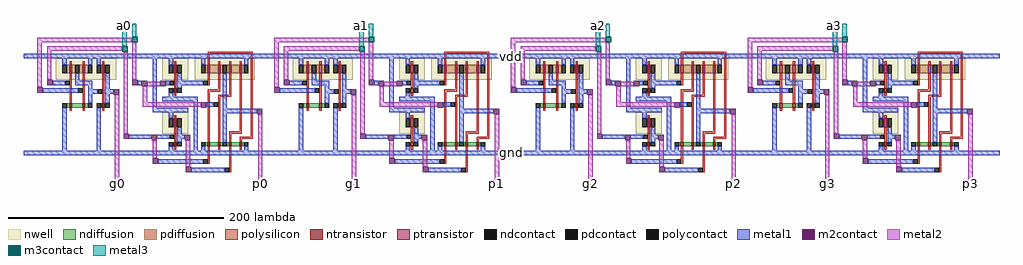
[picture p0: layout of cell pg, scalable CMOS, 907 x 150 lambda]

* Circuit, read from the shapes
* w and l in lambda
.subckt pg a0 a1 a2 a3 b0 b1 b2 b3 g0 g1 g2 g3 gnd p0 p1 p2 p3 vdd
M1 n1 a0 gnd VSUBS nfet w=4 l=2
M2 n2 b0 n1 VSUBS nfet w=4 l=2
M3 g0 n2 gnd VSUBS nfet w=4 l=2
M4 n3 a0 gnd VSUBS nfet w=4 l=2
M5 n4 b0 gnd VSUBS nfet w=4 l=2
M6 n5 a0 gnd VSUBS nfet w=4 l=2
M7 p0 b0 n5 VSUBS nfet w=4 l=2
M8 n6 n3 p0 VSUBS nfet w=4 l=2
M9 gnd n4 n6 VSUBS nfet w=4 l=2
M10 n7 a1 gnd VSUBS nfet w=4 l=2
M11 n8 b1 n7 VSUBS nfet w=4 l=2
M12 g1 n8 gnd VSUBS nfet w=4 l=2
M13 n9 a1 gnd VSUBS nfet w=4 l=2
M14 n10 b1 gnd VSUBS nfet w=4 l=2
M15 n11 a1 gnd VSUBS nfet w=4 l=2
M16 p1 b1 n11 VSUBS nfet w=4 l=2
M17 n12 n9 p1 VSUBS nfet w=4 l=2
M18 gnd n10 n12 VSUBS nfet w=4 l=2
M19 n13 a2 gnd VSUBS nfet w=4 l=2
M20 n14 b2 n13 VSUBS nfet w=4 l=2
M21 g2 n14 gnd VSUBS nfet w=4 l=2
M22 n15 a2 gnd VSUBS nfet w=4 l=2
M23 n16 b2 gnd VSUBS nfet w=4 l=2
M24 n17 a2 gnd VSUBS nfet w=4 l=2
M25 p2 b2 n17 VSUBS nfet w=4 l=2
M26 n18 n15 p2 VSUBS nfet w=4 l=2
M27 gnd n16 n18 VSUBS nfet w=4 l=2
M28 n19 a3 gnd VSUBS nfet w=4 l=2
M29 n20 b3 n19 VSUBS nfet w=4 l=2
M30 g3 n20 gnd VSUBS nfet w=4 l=2
M31 n21 a3 gnd VSUBS nfet w=4 l=2
M32 n22 b3 gnd VSUBS nfet w=4 l=2
M33 n23 a3 gnd VSUBS nfet w=4 l=2
M34 p3 b3 n23 VSUBS nfet w=4 l=2
M35 n24 n21 p3 VSUBS nfet w=4 l=2
M36 gnd n22 n24 VSUBS nfet w=4 l=2
M37 n2 a0 vdd n25 pfet w=8 l=2
M38 vdd b0 n2 n25 pfet w=8 l=2
M39 g0 n2 vdd n25 pfet w=8 l=2
M40 n3 a0 vdd n26 pfet w=8 l=2
M41 n4 b0 vdd n27 pfet w=8 l=2
M42 n28 n4 vdd n29 pfet w=8 l=2
M43 p0 a0 n28 n29 pfet w=8 l=2
M44 n30 b0 p0 n29 pfet w=8 l=2
M45 vdd n3 n30 n29 pfet w=8 l=2
M46 n8 a1 vdd n31 pfet w=8 l=2
M47 vdd b1 n8 n31 pfet w=8 l=2
M48 g1 n8 vdd n31 pfet w=8 l=2
M49 n9 a1 vdd n32 pfet w=8 l=2
M50 n10 b1 vdd n33 pfet w=8 l=2
M51 n34 n10 vdd n35 pfet w=8 l=2
M52 p1 a1 n34 n35 pfet w=8 l=2
M53 n36 b1 p1 n35 pfet w=8 l=2
M54 vdd n9 n36 n35 pfet w=8 l=2
M55 n14 a2 vdd n37 pfet w=8 l=2
M56 vdd b2 n14 n37 pfet w=8 l=2
M57 g2 n14 vdd n37 pfet w=8 l=2
M58 n15 a2 vdd n38 pfet w=8 l=2
M59 n16 b2 vdd n39 pfet w=8 l=2
M60 n40 n16 vdd n41 pfet w=8 l=2
M61 p2 a2 n40 n41 pfet w=8 l=2
M62 n42 b2 p2 n41 pfet w=8 l=2
M63 vdd n15 n42 n41 pfet w=8 l=2
M64 n20 a3 vdd n43 pfet w=8 l=2
M65 vdd b3 n20 n43 pfet w=8 l=2
M66 g3 n20 vdd n43 pfet w=8 l=2
M67 n21 a3 vdd n44 pfet w=8 l=2
M68 n22 b3 vdd n45 pfet w=8 l=2
M69 n46 n22 vdd n47 pfet w=8 l=2
M70 p3 a3 n46 n47 pfet w=8 l=2
M71 n48 b3 p3 n47 pfet w=8 l=2
M72 vdd n21 n48 n47 pfet w=8 l=2
.ends

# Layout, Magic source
magic
tech scmos
<< nwell >>
rect 154 86 210 106
rect 253 86 277 106
rect 283 86 339 106
rect 374 86 430 106
rect 473 86 497 106
rect 503 86 559 106
rect 594 86 650 106
rect 693 86 717 106
rect 723 86 779 106
rect 814 86 870 106
rect 913 86 937 106
rect 943 86 999 106
rect 253 36 277 56
rect 473 36 497 56
rect 693 36 717 56
rect 913 36 937 56
<< ntransistor >>
rect 264 74 266 78
rect 167 60 169 64
rect 179 60 181 64
rect 197 60 199 64
rect 484 74 486 78
rect 387 60 389 64
rect 399 60 401 64
rect 417 60 419 64
rect 704 74 706 78
rect 607 60 609 64
rect 619 60 621 64
rect 637 60 639 64
rect 924 74 926 78
rect 827 60 829 64
rect 839 60 841 64
rect 857 60 859 64
rect 264 24 266 28
rect 295 24 297 28
rect 305 24 307 28
rect 315 24 317 28
rect 325 24 327 28
rect 484 24 486 28
rect 515 24 517 28
rect 525 24 527 28
rect 535 24 537 28
rect 545 24 547 28
rect 704 24 706 28
rect 735 24 737 28
rect 745 24 747 28
rect 755 24 757 28
rect 765 24 767 28
rect 924 24 926 28
rect 955 24 957 28
rect 965 24 967 28
rect 975 24 977 28
rect 985 24 987 28
<< ptransistor >>
rect 167 92 169 100
rect 179 92 181 100
rect 197 92 199 100
rect 264 92 266 100
rect 295 92 297 100
rect 305 92 307 100
rect 315 92 317 100
rect 325 92 327 100
rect 264 42 266 50
rect 387 92 389 100
rect 399 92 401 100
rect 417 92 419 100
rect 484 92 486 100
rect 515 92 517 100
rect 525 92 527 100
rect 535 92 537 100
rect 545 92 547 100
rect 484 42 486 50
rect 607 92 609 100
rect 619 92 621 100
rect 637 92 639 100
rect 704 92 706 100
rect 735 92 737 100
rect 745 92 747 100
rect 755 92 757 100
rect 765 92 767 100
rect 704 42 706 50
rect 827 92 829 100
rect 839 92 841 100
rect 857 92 859 100
rect 924 92 926 100
rect 955 92 957 100
rect 965 92 967 100
rect 975 92 977 100
rect 985 92 987 100
rect 924 42 926 50
<< ndiffusion >>
rect 263 74 264 78
rect 266 74 267 78
rect 164 60 167 64
rect 169 60 179 64
rect 181 60 184 64
rect 196 60 197 64
rect 199 60 200 64
rect 483 74 484 78
rect 486 74 487 78
rect 384 60 387 64
rect 389 60 399 64
rect 401 60 404 64
rect 416 60 417 64
rect 419 60 420 64
rect 703 74 704 78
rect 706 74 707 78
rect 604 60 607 64
rect 609 60 619 64
rect 621 60 624 64
rect 636 60 637 64
rect 639 60 640 64
rect 923 74 924 78
rect 926 74 927 78
rect 824 60 827 64
rect 829 60 839 64
rect 841 60 844 64
rect 856 60 857 64
rect 859 60 860 64
rect 263 24 264 28
rect 266 24 267 28
rect 293 24 295 28
rect 297 24 305 28
rect 307 24 309 28
rect 313 24 315 28
rect 317 24 325 28
rect 327 24 329 28
rect 483 24 484 28
rect 486 24 487 28
rect 513 24 515 28
rect 517 24 525 28
rect 527 24 529 28
rect 533 24 535 28
rect 537 24 545 28
rect 547 24 549 28
rect 703 24 704 28
rect 706 24 707 28
rect 733 24 735 28
rect 737 24 745 28
rect 747 24 749 28
rect 753 24 755 28
rect 757 24 765 28
rect 767 24 769 28
rect 923 24 924 28
rect 926 24 927 28
rect 953 24 955 28
rect 957 24 965 28
rect 967 24 969 28
rect 973 24 975 28
rect 977 24 985 28
rect 987 24 989 28
<< pdiffusion >>
rect 164 92 167 100
rect 169 92 172 100
rect 176 92 179 100
rect 181 92 184 100
rect 196 92 197 100
rect 199 92 200 100
rect 263 92 264 100
rect 266 92 267 100
rect 293 92 295 100
rect 297 92 305 100
rect 307 92 309 100
rect 313 92 315 100
rect 317 92 325 100
rect 327 92 329 100
rect 263 42 264 50
rect 266 42 267 50
rect 384 92 387 100
rect 389 92 392 100
rect 396 92 399 100
rect 401 92 404 100
rect 416 92 417 100
rect 419 92 420 100
rect 483 92 484 100
rect 486 92 487 100
rect 513 92 515 100
rect 517 92 525 100
rect 527 92 529 100
rect 533 92 535 100
rect 537 92 545 100
rect 547 92 549 100
rect 483 42 484 50
rect 486 42 487 50
rect 604 92 607 100
rect 609 92 612 100
rect 616 92 619 100
rect 621 92 624 100
rect 636 92 637 100
rect 639 92 640 100
rect 703 92 704 100
rect 706 92 707 100
rect 733 92 735 100
rect 737 92 745 100
rect 747 92 749 100
rect 753 92 755 100
rect 757 92 765 100
rect 767 92 769 100
rect 703 42 704 50
rect 706 42 707 50
rect 824 92 827 100
rect 829 92 832 100
rect 836 92 839 100
rect 841 92 844 100
rect 856 92 857 100
rect 859 92 860 100
rect 923 92 924 100
rect 926 92 927 100
rect 953 92 955 100
rect 957 92 965 100
rect 967 92 969 100
rect 973 92 975 100
rect 977 92 985 100
rect 987 92 989 100
rect 923 42 924 50
rect 926 42 927 50
<< ndcontact >>
rect 259 74 263 78
rect 267 74 271 78
rect 160 60 164 64
rect 184 60 188 64
rect 192 60 196 64
rect 200 60 204 64
rect 479 74 483 78
rect 487 74 491 78
rect 380 60 384 64
rect 404 60 408 64
rect 412 60 416 64
rect 420 60 424 64
rect 699 74 703 78
rect 707 74 711 78
rect 600 60 604 64
rect 624 60 628 64
rect 632 60 636 64
rect 640 60 644 64
rect 919 74 923 78
rect 927 74 931 78
rect 820 60 824 64
rect 844 60 848 64
rect 852 60 856 64
rect 860 60 864 64
rect 259 24 263 28
rect 267 24 271 28
rect 289 24 293 28
rect 309 24 313 28
rect 329 24 333 28
rect 479 24 483 28
rect 487 24 491 28
rect 509 24 513 28
rect 529 24 533 28
rect 549 24 553 28
rect 699 24 703 28
rect 707 24 711 28
rect 729 24 733 28
rect 749 24 753 28
rect 769 24 773 28
rect 919 24 923 28
rect 927 24 931 28
rect 949 24 953 28
rect 969 24 973 28
rect 989 24 993 28
<< pdcontact >>
rect 160 92 164 100
rect 172 92 176 100
rect 184 92 188 100
rect 192 92 196 100
rect 200 92 204 100
rect 259 92 263 100
rect 267 92 271 100
rect 289 92 293 100
rect 309 92 313 100
rect 329 92 333 100
rect 259 42 263 50
rect 267 42 271 50
rect 380 92 384 100
rect 392 92 396 100
rect 404 92 408 100
rect 412 92 416 100
rect 420 92 424 100
rect 479 92 483 100
rect 487 92 491 100
rect 509 92 513 100
rect 529 92 533 100
rect 549 92 553 100
rect 479 42 483 50
rect 487 42 491 50
rect 600 92 604 100
rect 612 92 616 100
rect 624 92 628 100
rect 632 92 636 100
rect 640 92 644 100
rect 699 92 703 100
rect 707 92 711 100
rect 729 92 733 100
rect 749 92 753 100
rect 769 92 773 100
rect 699 42 703 50
rect 707 42 711 50
rect 820 92 824 100
rect 832 92 836 100
rect 844 92 848 100
rect 852 92 856 100
rect 860 92 864 100
rect 919 92 923 100
rect 927 92 931 100
rect 949 92 953 100
rect 969 92 973 100
rect 989 92 993 100
rect 919 42 923 50
rect 927 42 931 50
<< polysilicon >>
rect 295 110 337 112
rect 167 100 169 103
rect 179 100 181 103
rect 197 100 199 103
rect 264 100 266 103
rect 295 100 297 110
rect 305 100 307 103
rect 315 100 317 103
rect 325 100 327 103
rect 167 64 169 92
rect 179 64 181 92
rect 197 64 199 92
rect 264 78 266 92
rect 295 81 297 92
rect 305 77 307 92
rect 295 75 307 77
rect 264 71 266 74
rect 167 57 169 60
rect 179 57 181 60
rect 197 57 199 60
rect 264 50 266 53
rect 264 28 266 42
rect 295 28 297 75
rect 315 72 317 92
rect 305 70 317 72
rect 305 28 307 70
rect 325 38 327 92
rect 315 36 327 38
rect 315 28 317 36
rect 335 33 337 110
rect 515 110 557 112
rect 387 100 389 103
rect 399 100 401 103
rect 417 100 419 103
rect 484 100 486 103
rect 515 100 517 110
rect 525 100 527 103
rect 535 100 537 103
rect 545 100 547 103
rect 387 64 389 92
rect 399 64 401 92
rect 417 64 419 92
rect 484 78 486 92
rect 515 81 517 92
rect 525 77 527 92
rect 515 75 527 77
rect 484 71 486 74
rect 387 57 389 60
rect 399 57 401 60
rect 417 57 419 60
rect 484 50 486 53
rect 325 31 337 33
rect 325 28 327 31
rect 484 28 486 42
rect 515 28 517 75
rect 535 72 537 92
rect 525 70 537 72
rect 525 28 527 70
rect 545 38 547 92
rect 535 36 547 38
rect 535 28 537 36
rect 555 33 557 110
rect 735 110 777 112
rect 607 100 609 103
rect 619 100 621 103
rect 637 100 639 103
rect 704 100 706 103
rect 735 100 737 110
rect 745 100 747 103
rect 755 100 757 103
rect 765 100 767 103
rect 607 64 609 92
rect 619 64 621 92
rect 637 64 639 92
rect 704 78 706 92
rect 735 81 737 92
rect 745 77 747 92
rect 735 75 747 77
rect 704 71 706 74
rect 607 57 609 60
rect 619 57 621 60
rect 637 57 639 60
rect 704 50 706 53
rect 545 31 557 33
rect 545 28 547 31
rect 704 28 706 42
rect 735 28 737 75
rect 755 72 757 92
rect 745 70 757 72
rect 745 28 747 70
rect 765 38 767 92
rect 755 36 767 38
rect 755 28 757 36
rect 775 33 777 110
rect 955 110 997 112
rect 827 100 829 103
rect 839 100 841 103
rect 857 100 859 103
rect 924 100 926 103
rect 955 100 957 110
rect 965 100 967 103
rect 975 100 977 103
rect 985 100 987 103
rect 827 64 829 92
rect 839 64 841 92
rect 857 64 859 92
rect 924 78 926 92
rect 955 81 957 92
rect 965 77 967 92
rect 955 75 967 77
rect 924 71 926 74
rect 827 57 829 60
rect 839 57 841 60
rect 857 57 859 60
rect 924 50 926 53
rect 765 31 777 33
rect 765 28 767 31
rect 924 28 926 42
rect 955 28 957 75
rect 975 72 977 92
rect 965 70 977 72
rect 965 28 967 70
rect 985 38 987 92
rect 975 36 987 38
rect 975 28 977 36
rect 995 33 997 110
rect 985 31 997 33
rect 985 28 987 31
rect 264 21 266 24
rect 295 8 297 24
rect 305 21 307 24
rect 315 0 317 24
rect 325 21 327 24
rect 484 21 486 24
rect 515 8 517 24
rect 525 21 527 24
rect 535 0 537 24
rect 545 21 547 24
rect 704 21 706 24
rect 735 8 737 24
rect 745 21 747 24
rect 755 0 757 24
rect 765 21 767 24
rect 924 21 926 24
rect 955 8 957 24
rect 965 21 967 24
rect 975 0 977 24
rect 985 21 987 24
<< polycontact >>
rect 163 81 167 85
rect 175 74 179 78
rect 193 73 197 77
rect 260 81 264 85
rect 291 81 295 85
rect 260 31 264 35
rect 301 61 305 65
rect 383 81 387 85
rect 395 74 399 78
rect 413 73 417 77
rect 480 81 484 85
rect 511 81 515 85
rect 480 31 484 35
rect 521 61 525 65
rect 603 81 607 85
rect 615 74 619 78
rect 633 73 637 77
rect 700 81 704 85
rect 731 81 735 85
rect 700 31 704 35
rect 741 61 745 65
rect 823 81 827 85
rect 835 74 839 78
rect 853 73 857 77
rect 920 81 924 85
rect 951 81 955 85
rect 920 31 924 35
rect 961 61 965 65
rect 291 8 295 12
rect 311 0 315 4
rect 511 8 515 12
rect 531 0 535 4
rect 731 8 735 12
rect 751 0 755 4
rect 951 8 955 12
rect 971 0 975 4
<< metal1 >>
rect 124 106 1031 110
rect 160 100 164 106
rect 184 100 188 106
rect 192 100 196 106
rect 172 85 176 92
rect 151 81 163 85
rect 172 81 188 85
rect 142 74 175 78
rect 184 77 188 81
rect 200 77 204 92
rect 230 81 234 85
rect 184 73 193 77
rect 200 73 208 77
rect 184 64 188 73
rect 200 64 204 73
rect 244 60 248 106
rect 259 100 263 106
rect 289 100 293 106
rect 329 100 333 106
rect 380 100 384 106
rect 404 100 408 106
rect 412 100 416 106
rect 267 85 271 92
rect 256 81 260 85
rect 267 81 291 85
rect 267 78 271 81
rect 259 70 263 74
rect 253 66 286 70
rect 160 20 164 60
rect 192 20 196 60
rect 244 56 277 60
rect 259 50 263 56
rect 267 35 271 42
rect 222 31 243 35
rect 248 31 260 35
rect 267 31 274 35
rect 267 28 271 31
rect 259 20 263 24
rect 282 20 286 66
rect 294 61 301 65
rect 309 59 313 92
rect 392 85 396 92
rect 371 81 383 85
rect 392 81 408 85
rect 362 74 395 78
rect 404 77 408 81
rect 420 77 424 92
rect 450 81 454 85
rect 404 73 413 77
rect 420 73 428 77
rect 404 64 408 73
rect 420 64 424 73
rect 464 60 468 106
rect 479 100 483 106
rect 509 100 513 106
rect 549 100 553 106
rect 600 100 604 106
rect 624 100 628 106
rect 632 100 636 106
rect 487 85 491 92
rect 476 81 480 85
rect 487 81 511 85
rect 487 78 491 81
rect 479 70 483 74
rect 473 66 506 70
rect 309 55 341 59
rect 309 28 313 55
rect 289 20 293 24
rect 329 20 333 24
rect 380 20 384 60
rect 412 20 416 60
rect 464 56 497 60
rect 479 50 483 56
rect 487 35 491 42
rect 442 31 463 35
rect 468 31 480 35
rect 487 31 494 35
rect 487 28 491 31
rect 479 20 483 24
rect 502 20 506 66
rect 514 61 521 65
rect 529 59 533 92
rect 612 85 616 92
rect 591 81 603 85
rect 612 81 628 85
rect 582 74 615 78
rect 624 77 628 81
rect 640 77 644 92
rect 670 81 674 85
rect 624 73 633 77
rect 640 73 648 77
rect 624 64 628 73
rect 640 64 644 73
rect 684 60 688 106
rect 699 100 703 106
rect 729 100 733 106
rect 769 100 773 106
rect 820 100 824 106
rect 844 100 848 106
rect 852 100 856 106
rect 707 85 711 92
rect 696 81 700 85
rect 707 81 731 85
rect 707 78 711 81
rect 699 70 703 74
rect 693 66 726 70
rect 529 55 561 59
rect 529 28 533 55
rect 509 20 513 24
rect 549 20 553 24
rect 600 20 604 60
rect 632 20 636 60
rect 684 56 717 60
rect 699 50 703 56
rect 707 35 711 42
rect 662 31 683 35
rect 688 31 700 35
rect 707 31 714 35
rect 707 28 711 31
rect 699 20 703 24
rect 722 20 726 66
rect 734 61 741 65
rect 749 59 753 92
rect 832 85 836 92
rect 811 81 823 85
rect 832 81 848 85
rect 802 74 835 78
rect 844 77 848 81
rect 860 77 864 92
rect 890 81 894 85
rect 844 73 853 77
rect 860 73 868 77
rect 844 64 848 73
rect 860 64 864 73
rect 904 60 908 106
rect 919 100 923 106
rect 949 100 953 106
rect 989 100 993 106
rect 927 85 931 92
rect 916 81 920 85
rect 927 81 951 85
rect 927 78 931 81
rect 919 70 923 74
rect 913 66 946 70
rect 749 55 781 59
rect 749 28 753 55
rect 729 20 733 24
rect 769 20 773 24
rect 820 20 824 60
rect 852 20 856 60
rect 904 56 937 60
rect 919 50 923 56
rect 927 35 931 42
rect 882 31 903 35
rect 908 31 920 35
rect 927 31 934 35
rect 927 28 931 31
rect 919 20 923 24
rect 942 20 946 66
rect 954 61 961 65
rect 969 59 973 92
rect 969 55 1001 59
rect 969 28 973 55
rect 949 20 953 24
rect 989 20 993 24
rect 124 16 1031 20
rect 249 8 291 12
rect 469 8 511 12
rect 689 8 731 12
rect 909 8 951 12
rect 280 0 311 4
rect 500 0 531 4
rect 720 0 751 4
rect 940 0 971 4
<< m2contact >>
rect 146 81 151 86
rect 137 74 142 79
rect 225 81 230 86
rect 234 80 239 85
rect 208 72 213 77
rect 251 80 256 85
rect 217 31 222 36
rect 243 30 248 35
rect 274 30 279 35
rect 289 60 294 65
rect 366 81 371 86
rect 357 74 362 79
rect 445 81 450 86
rect 454 80 459 85
rect 428 72 433 77
rect 471 80 476 85
rect 341 54 346 59
rect 437 31 442 36
rect 463 30 468 35
rect 494 30 499 35
rect 509 60 514 65
rect 586 81 591 86
rect 577 74 582 79
rect 665 81 670 86
rect 674 80 679 85
rect 648 72 653 77
rect 691 80 696 85
rect 561 54 566 59
rect 657 31 662 36
rect 683 30 688 35
rect 714 30 719 35
rect 729 60 734 65
rect 806 81 811 86
rect 797 74 802 79
rect 885 81 890 86
rect 894 80 899 85
rect 868 72 873 77
rect 911 80 916 85
rect 781 54 786 59
rect 877 31 882 36
rect 903 30 908 35
rect 934 30 939 35
rect 949 60 954 65
rect 1001 54 1006 59
rect 244 8 249 13
rect 464 8 469 13
rect 684 8 689 13
rect 904 8 909 13
rect 275 0 280 5
rect 495 0 500 5
rect 715 0 720 5
rect 935 0 940 5
<< metal2 >>
rect 137 121 225 125
rect 357 121 445 125
rect 577 121 665 125
rect 797 121 885 125
rect 137 79 141 121
rect 146 113 216 117
rect 146 86 150 113
rect 209 -12 213 72
rect 217 36 221 112
rect 225 86 229 121
rect 239 80 251 84
rect 235 65 239 80
rect 357 79 361 121
rect 366 113 436 117
rect 366 86 370 113
rect 235 61 289 65
rect 244 13 248 30
rect 275 5 279 30
rect 342 -12 346 54
rect 429 -12 433 72
rect 437 36 441 112
rect 445 86 449 121
rect 459 80 471 84
rect 455 65 459 80
rect 577 79 581 121
rect 586 113 656 117
rect 586 86 590 113
rect 455 61 509 65
rect 464 13 468 30
rect 495 5 499 30
rect 562 -12 566 54
rect 649 -12 653 72
rect 657 36 661 112
rect 665 86 669 121
rect 679 80 691 84
rect 675 65 679 80
rect 797 79 801 121
rect 806 113 876 117
rect 806 86 810 113
rect 675 61 729 65
rect 684 13 688 30
rect 715 5 719 30
rect 782 -12 786 54
rect 869 -12 873 72
rect 877 36 881 112
rect 885 86 889 121
rect 899 80 911 84
rect 895 65 899 80
rect 895 61 949 65
rect 904 13 908 30
rect 935 5 939 30
rect 1002 -12 1006 54
<< m3contact >>
rect 225 121 230 126
rect 445 121 450 126
rect 665 121 670 126
rect 885 121 890 126
rect 216 112 221 117
rect 436 112 441 117
rect 656 112 661 117
rect 876 112 881 117
<< metal3 >>
rect 216 117 220 138
rect 225 126 229 138
rect 436 117 440 138
rect 445 126 449 138
rect 656 117 660 138
rect 665 126 669 138
rect 876 117 880 138
rect 885 126 889 138
<< labels >>
rlabel metal3 216 134 220 138 5 a0
rlabel metal3 225 134 229 138 5 b0
rlabel metal3 436 134 440 138 5 a1
rlabel metal3 445 134 449 138 5 b1
rlabel metal3 656 134 660 138 5 a2
rlabel metal3 665 134 669 138 5 b2
rlabel metal3 876 134 880 138 5 a3
rlabel metal3 885 134 889 138 5 b3
rlabel metal1 124 106 1031 110 1 vdd
rlabel metal1 124 16 1031 20 1 gnd
rlabel metal2 209 -12 213 -8 1 g0
rlabel metal2 342 -12 346 -8 1 p0
rlabel metal2 429 -12 433 -8 1 g1
rlabel metal2 562 -12 566 -8 1 p1
rlabel metal2 649 -12 653 -8 1 g2
rlabel metal2 782 -12 786 -8 1 p2
rlabel metal2 869 -12 873 -8 1 g3
rlabel metal2 1002 -12 1006 -8 1 p3
<< end >>
